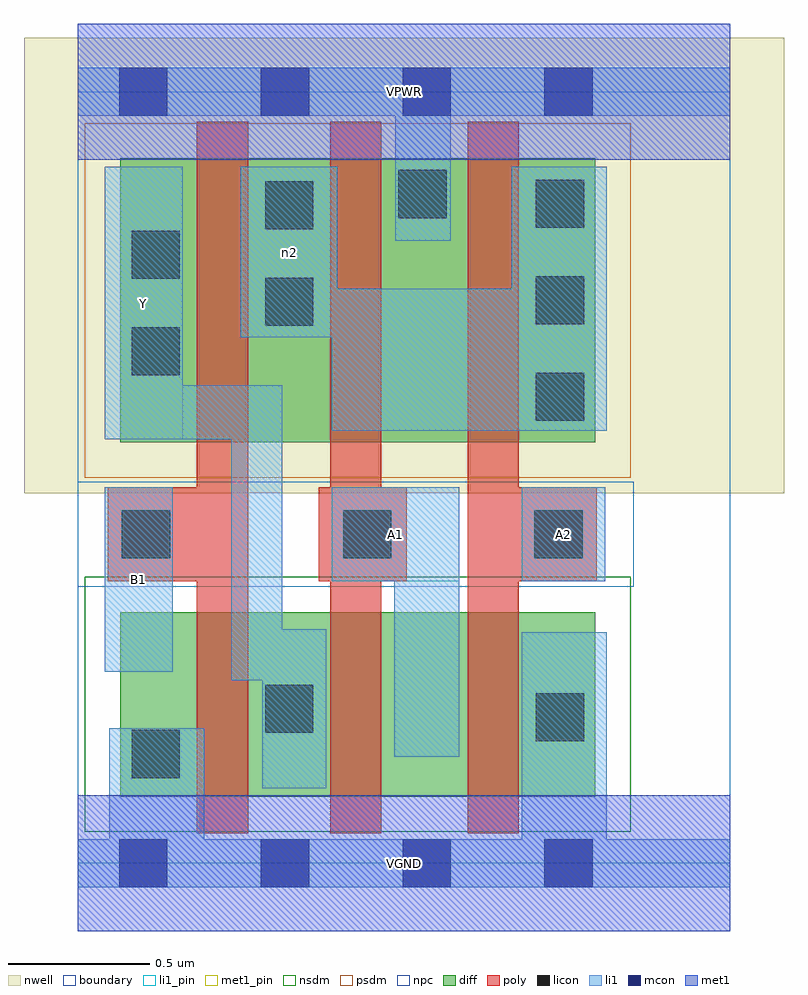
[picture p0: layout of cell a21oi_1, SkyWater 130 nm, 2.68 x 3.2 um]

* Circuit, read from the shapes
.subckt a21oi_1 A1 A2 B1 VGND VPWR Y n2
XM1 Y B1 VGND VSUBS sky130_fd_pr__nfet_01v8 w=0.65 l=0.18
XM2 n1 A1 Y VSUBS sky130_fd_pr__nfet_01v8 w=0.65 l=0.18
XM3 VGND A2 n1 VSUBS sky130_fd_pr__nfet_01v8 w=0.65 l=0.18
XM4 n2 B1 Y n3 sky130_fd_pr__pfet_01v8 w=1 l=0.18
XM5 VPWR A1 n2 n3 sky130_fd_pr__pfet_01v8 w=1 l=0.18
XM6 n2 A2 VPWR n3 sky130_fd_pr__pfet_01v8 w=1 l=0.18
.ends

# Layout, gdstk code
import gdstk
lib = gdstk.Library(unit=1e-6, precision=1e-09)
def R(c, l, rs):  # rectangles x0, y0, x1, y1
    for r in rs: c.add(gdstk.rectangle(r[:2], r[2:], *l))
def A(c, l, x, y, w, h, nx, ny, dx, dy):  # array of equal rectangles
    R(c, l, [(x+i*dx, y+j*dy, x+i*dx+w, y+j*dy+h) for i in range(nx) for j in range(ny)])
nwell = (64, 20)
diff = (65, 20)
poly = (66, 20)
licon = (66, 44)
li1_pin = (67, 16)
li1 = (67, 20)
mcon = (67, 44)
met1_pin = (68, 16)
met1 = (68, 20)
nsdm = (93, 44)
psdm = (94, 20)
npc = (95, 20)
boundary = (235, 4)

a21oi_1 = lib.new_cell('a21oi_1')
R(a21oi_1, nwell, [(-0.19,1.305,2.49,2.91), (0,1.305,2.3,2.91)])
R(a21oi_1, diff, [(0.15,0.235,1.825,0.885), (0.15,1.485,1.825,2.485)])
R(a21oi_1, poly, [(0.42,0.105,0.6,2.615), (0.89,0.105,1.07,2.615), (1.375,0.105,1.555,2.615), (0.105,0.995,0.6,1.325), (0.85,0.995,1.16,1.325), (1.375,0.995,1.83,1.325)])
A(a21oi_1, licon, 1.615, 1.56, 0.17, 0.17, 1, 3, 0, 0.34)
R(a21oi_1, licon, [(0.19,0.3,0.36,0.47), (1.615,0.43,1.785,0.6), (0.66,0.46,0.83,0.63), (0.155,1.075,0.325,1.245), (0.935,1.075,1.105,1.245), (1.61,1.075,1.78,1.245), (0.19,1.72,0.36,1.89), (0.66,1.895,0.83,2.065), (0.19,2.06,0.36,2.23), (0.66,2.235,0.83,2.405), (1.13,2.275,1.3,2.445)])
R(a21oi_1, li1_pin, [(0.095,0.675,0.335,1.325), (0.895,0.995,1.345,1.325), (1.565,0.995,1.86,1.325), (0.095,1.495,0.37,2.455)])
R(a21oi_1, li1, [(0,-0.085,2.3,0.085), (0.11,-0.085,0.445,0.475), (1.565,-0.085,1.865,0.815), (0.65,0.265,0.875,0.825), (1.115,0.375,1.345,1.325), (0.54,0.645,0.72,1.685), (0.095,0.675,0.335,1.325), (0.895,0.995,1.345,1.325), (1.565,0.995,1.86,1.325), (0.095,1.495,0.37,2.455), (0.095,1.495,0.72,1.685), (0.895,1.525,1.865,2.025), (1.53,1.525,1.865,2.455), (0.575,1.855,0.915,2.455), (1.12,2.195,1.315,2.805), (0,2.635,2.3,2.805)])
A(a21oi_1, mcon, 0.145, -0.085, 0.17, 0.17, 4, 2, 0.5, 2.72)
R(a21oi_1, met1_pin, [(0,-0.24,2.3,0.24), (0,2.48,2.3,2.96)])
R(a21oi_1, met1, [(0,-0.24,2.3,0.24), (0,2.48,2.3,2.96)])
R(a21oi_1, nsdm, [(0.025,0.11,1.95,1.01)])
R(a21oi_1, psdm, [(0.025,1.36,1.95,2.61)])
R(a21oi_1, npc, [(0,0.975,1.96,1.345)])
R(a21oi_1, boundary, [(0,0,2.3,2.72)])
a21oi_1.add(gdstk.Label('A1', (1.12,1.16), layer=67, texttype=5))
a21oi_1.add(gdstk.Label('A2', (1.712,1.16), layer=67, texttype=5))
a21oi_1.add(gdstk.Label('B1', (0.215,1), layer=67, texttype=5))
a21oi_1.add(gdstk.Label('Y', (0.232,1.975), layer=67, texttype=5))
a21oi_1.add(gdstk.Label('n2', (0.745,2.155), layer=67, texttype=5))
a21oi_1.add(gdstk.Label('VPWR', (1.15,2.72), layer=68, texttype=5))
a21oi_1.add(gdstk.Label('VGND', (1.15,0), layer=68, texttype=5))
a21oi_1.add(gdstk.Label('A1', (1.12,1.16), layer=67, texttype=16))
a21oi_1.add(gdstk.Label('A2', (1.712,1.16), layer=67, texttype=16))
a21oi_1.add(gdstk.Label('B1', (0.215,1), layer=67, texttype=16))
a21oi_1.add(gdstk.Label('Y', (0.232,1.975), layer=67, texttype=16))
a21oi_1.add(gdstk.Label('VPWR', (1.15,2.72), layer=68, texttype=16))
a21oi_1.add(gdstk.Label('VGND', (1.15,0), layer=68, texttype=16))

lib.write_gds('a21oi_1.gds')
